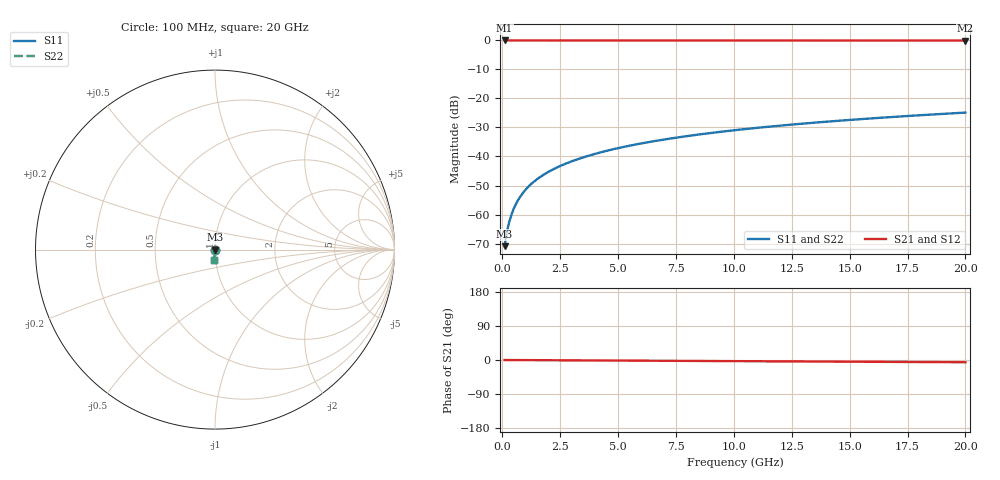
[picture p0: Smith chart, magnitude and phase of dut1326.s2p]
! Touchstone file exported from HFSS 2026.1.0
!  File:  C:/ffzhzh/LocalFiles/Ansys_Project_Files/temp_train_TSV_1326_1783195264_18472.aedt
!  Generated:  04:02:18 AM Jul  5, 2026
!  Design:  TSV
!  Project:  temp_train_TSV_1326_1783195264_18472
! Variables:
!  h_bsmrdl = 2um
!  h_ox = 20um
!  h_rdl = 5um
!  h_sub = 52.63um
!  h_tmrdl = 5um
!  h_tsv = 52.63um
!  h_via = 3um
!  l_bsmrdl = 300um
!  l_sub = 414.26um
!  l_tmrdl = 200um
!  m_sub = 200um
!  pitch = 18.06um
!  r_tsv = 7.13um
!  s_tmrdl = 10um
!  w_bsmrdl = 18um
!  w_sub = 500um
!  w_tmrdl = 12um
!  x_tsv_center1 = 206um
!  x_tsv_center2 = 524um
!  x_tsv_center3 = 736um
!  x_tsv_center4 = 1054um
!  x_tsv_center5 = 1266um
!  x_tsv_center6 = 1584um
# GHz S MA R 50.000000
! Terminal data exported
! Port[1] = TSV1_1_T1
! Port[2] = TSV1_1_T2
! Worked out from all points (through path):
!   200 points, 100 MHz to 20 GHz, reference 50 ohm
!   highest |S21| = 0.00 dB at 100 MHz (marker M1); lowest = 0.0 dB at 20 GHz (marker M2)
!   lowest |S11| = -70.9 dB at 100 MHz (marker M3), VSWR 1.00, Z = 50 - j0.0229 ohm
!   |S11| at or under -10 dB: start of sweep to end of sweep
!   |S22| runs from -70.9 to -24.9 dB; largest |S21 - S12| = 3.1e-15
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0.1  0.0002848 -53.6  0.9998 -0.0  0.9998 -0.0  0.0002848 -53.6
! Gamma 0 0 0 0
! Port Impedance 50 0 50 0
0.2  0.0005038 -67.8  0.9998 -0.1  0.9998 -0.1  0.0005038 -67.8
0.3  0.000748 -72.9  0.9998 -0.1  0.9998 -0.1  0.000748 -72.9
0.4  0.001007 -75.6  0.9997 -0.1  0.9997 -0.1  0.001007 -75.6
0.5  0.001274 -77.4  0.9997 -0.2  0.9997 -0.2  0.001274 -77.4
0.7  0.001824 -79.8  0.9997 -0.2  0.9997 -0.2  0.001824 -79.8
0.8  0.002102 -80.7  0.9996 -0.3  0.9996 -0.3  0.002102 -80.7
1  0.00266 -82.2  0.9996 -0.3  0.9996 -0.3  0.00266 -82.2
1.2  0.003219 -83.2  0.9996 -0.4  0.9996 -0.4  0.003219 -83.2
1.4  0.003778 -84.0  0.9996 -0.4  0.9996 -0.4  0.003778 -84.0
1.7  0.004616 -84.9  0.9995 -0.5  0.9995 -0.5  0.004616 -84.9
2  0.005455 -85.6  0.9995 -0.6  0.9995 -0.6  0.005455 -85.6
2.7  0.007417 -86.6  0.9994 -0.8  0.9994 -0.8  0.007417 -86.6
3.5  0.009671 -87.4  0.9993 -1.1  0.9993 -1.1  0.009671 -87.4
4.2  0.01165 -87.9  0.9993 -1.3  0.9993 -1.3  0.01165 -87.9
5  0.01393 -88.4  0.9992 -1.5  0.9992 -1.5  0.01393 -88.4
6.8  0.01909 -89.4  0.9989 -2.0  0.9989 -2.0  0.01909 -89.4
8.3  0.0234 -90.1  0.9987 -2.5  0.9987 -2.5  0.0234 -90.1
10.1  0.02858 -90.8  0.9985 -3.0  0.9985 -3.0  0.02858 -90.8
13.4  0.03808 -92.1  0.998 -4.0  0.998 -4.0  0.03808 -92.1
16.7  0.04758 -93.3  0.9975 -5.0  0.9975 -5.0  0.04758 -93.3
20  0.05709 -94.4  0.9968 -5.9  0.9968 -5.9  0.05709 -94.4
